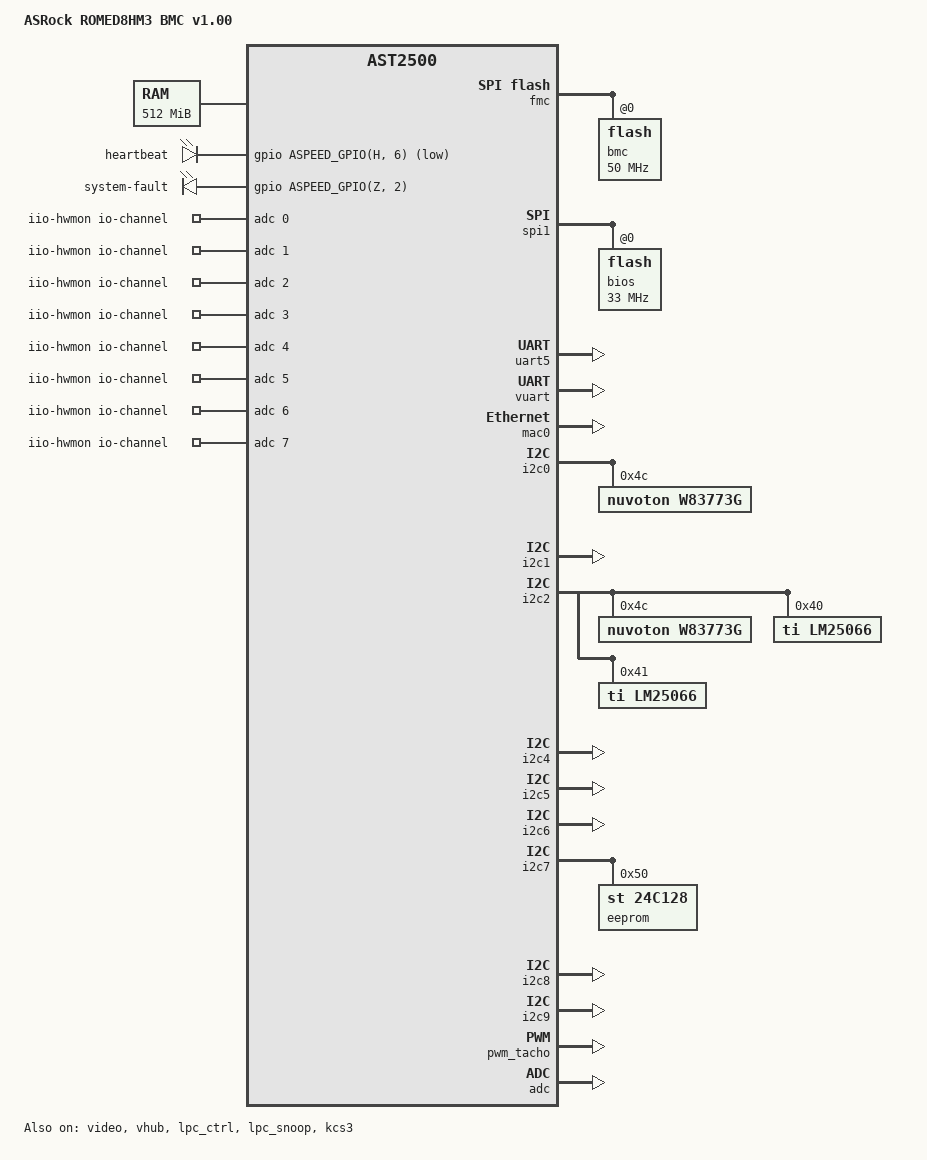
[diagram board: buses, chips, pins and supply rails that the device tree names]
// SPDX-License-Identifier: GPL-2.0+
/dts-v1/;

#include "aspeed-g5.dtsi"
#include <dt-bindings/gpio/aspeed-gpio.h>
#include <dt-bindings/interrupt-controller/irq.h>

/{
	model = "ASRock ROMED8HM3 BMC v1.00";
	compatible = "asrock,romed8hm3-bmc", "aspeed,ast2500";

	aliases {
		serial4 = &uart5;
	};

	chosen {
		stdout-path = &uart5;
		bootargs = "console=tty0 console=ttyS4,115200 earlycon";
	};

	memory@80000000 {
		reg = <0x80000000 0x20000000>;
	};

	leds {
		compatible = "gpio-leds";

		heartbeat {
			gpios = <&gpio ASPEED_GPIO(H, 6) GPIO_ACTIVE_LOW>;
			linux,default-trigger = "timer";
		};

		system-fault {
			gpios = <&gpio ASPEED_GPIO(Z, 2) GPIO_ACTIVE_HIGH>;
			panic-indicator;
		};
	};

	iio-hwmon {
		compatible = "iio-hwmon";
		io-channels = <&adc 0>, <&adc 1>, <&adc 2>, <&adc 3>,
			<&adc 4>, <&adc 5>, <&adc 6>, <&adc 7>,
			<&adc 8>, <&adc 9>, <&adc 10>, <&adc 11>,
			<&adc 12>, <&adc 13>, <&adc 14>, <&adc 15>;
	};
};

&fmc {
	status = "okay";
	flash@0 {
		status = "okay";
		m25p,fast-read;
		label = "bmc";
		spi-max-frequency = <50000000>; /* 50 MHz */
#include "openbmc-flash-layout-64.dtsi"
	};
};

&spi1 {
	status = "okay";
	pinctrl-names = "default";
	pinctrl-0 = <&pinctrl_spi1_default>;
	flash@0 {
		status = "okay";
		label = "bios";
		m25p,fast-read;
		spi-max-frequency = <33000000>; /* 33 MHz */
	};
};

&uart5 {
	status = "okay";
};

&vuart {
	status = "okay";
	aspeed,lpc-io-reg = <0x2f8>;
	aspeed,lpc-interrupts = <3 IRQ_TYPE_LEVEL_HIGH>;
};

&mac0 {
	status = "okay";

	pinctrl-names = "default";
	pinctrl-0 = <&pinctrl_rgmii1_default &pinctrl_mdio1_default>;

	nvmem-cells = <&eth0_macaddress>;
	nvmem-cell-names = "mac-address";
};

&i2c0 {
	status = "okay";

	/* inlet temp sensor */
	w83773g@4c {
		compatible = "nuvoton,w83773g";
		reg = <0x4c>;
	};
};

&i2c1 {
	status = "okay";
};

&i2c2 {
	status = "okay";

	/* IPB temp sensor */
	w83773g@4c {
		compatible = "nuvoton,w83773g";
		reg = <0x4c>;
	};

	/* IPB PMIC */
	lm25066@40 {
		compatible = "ti,lm25066";
		reg = <0x40>;
		shunt-resistor-micro-ohms = <1000>;
	};

	/* 12VSB PMIC */
	lm25066@41 {
		compatible = "ti,lm25066";
		reg = <0x41>;
		shunt-resistor-micro-ohms = <10000>;
	};
};

&i2c4 {
	status = "okay";
};

&i2c5 {
	status = "okay";
};

&i2c6 {
	status = "okay";
};

&i2c7 {
	status = "okay";

	/* Baseboard FRU eeprom */
	eeprom@50 {
		compatible = "st,24c128", "atmel,24c128";
		reg = <0x50>;
		pagesize = <16>;
		#address-cells = <1>;
		#size-cells = <1>;

		eth0_macaddress: macaddress@3f80 {
			reg = <0x3f80 6>;
		};
	};
};

&i2c8 {
	status = "okay";
};

&i2c9 {
	status = "okay";
};

&video {
	status = "okay";
};

&vhub {
	status = "okay";
};

&lpc_ctrl {
	status = "okay";
};

&lpc_snoop {
	status = "okay";
	snoop-ports = <0x80>;
};

&kcs3 {
	status = "okay";
	aspeed,lpc-io-reg = <0xca2>;
};

&pwm_tacho {
	status = "okay";
	pinctrl-names = "default";
	pinctrl-0 = <&pinctrl_pwm3_default
		&pinctrl_pwm4_default
		&pinctrl_pwm5_default
		&pinctrl_pwm6_default>;

	fan@3 {
		reg = <0x03>;
		aspeed,fan-tach-ch = /bits/ 8 <0x03 0x0b>;
	};

	fan@4 {
		reg = <0x04>;
		aspeed,fan-tach-ch = /bits/ 8 <0x04 0x0c>;
	};

	fan@5 {
		reg = <0x05>;
		aspeed,fan-tach-ch = /bits/ 8 <0x05 0x0d>;
	};

	fan@6 {
		reg = <0x06>;
		aspeed,fan-tach-ch = /bits/ 8 <0x06 0x0e>;
	};
};

&gpio {
	status = "okay";
	gpio-line-names =
		/*  A */ "LOCATORLED_STATUS_N", "BMC_MAC2_INTB", "NMI_BTN_N", "BMC_NMI",
			"", "", "", "",
		/*  B */ "POST_COMPLETE_N", "", "", "", "", "", "", "",
		/*  C */ "", "", "", "", "PCIE_HP_SEL_N", "PCIE_SATA_SEL_N", "LOCATORBTN", "",
		/*  D */ "BMC_PSIN", "BMC_PSOUT", "BMC_RESETCON", "RESETCON",
			"", "", "", "PSU_FAN_FAIL_N",
		/*  E */ "", "", "", "", "", "", "", "",
		/*  F */ "NIC_PWR_GOOD", "PRSNTB0", "PRSNTB1", "PRSNTB2",
			"PRSNTB3", "", "3VSB_PCIE1_PG", "12V_PCIE1_PG",
		/*  G */ "HWM_BAT_EN", "CHASSIS_ID0", "CHASSIS_ID1", "CHASSIS_ID2",
			"BMC_ALERT1_N_R", "BMC_ALERT2_N_R", "BMC_ALERT3_N", "BMC_ALERT4_N",
		/*  H */ "X24_C1_PRSNT", "X24_C2_PRSNT", "X24_C3_PRSNT", "FM_MEM_THERM_EVENT_BMC_R_N",
			"FACMODE", "BMC_RTCRST", "BMC_HB_LED_N", "BMC_CASEOPEN",
		/*  I */ "", "", "", "", "", "", "", "",
		/*  J */ "BMC_READY", "BMC_PCH_BIOS_CS_N", "", "P0_MA_DDR_QS_CS_N",
			"", "", "", "",
		/*  K */ "", "", "", "", "", "", "", "",
		/*  L */ "", "", "", "", "", "", "", "",
		/*  M */ "", "", "MEZZ_PWRBRK_N", "OCP_HP_RST_EN",
			"MAIN_PWR_EN_G", "BMC_MAIN_EN", "AUX_PWR_EN_G", "BMC_AUX_EN",
		/*  N */ "", "", "", "", "", "", "", "",
		/*  O */ "", "", "", "", "", "", "", "",
		/*  P */ "", "", "", "", "", "", "", "",
		/*  Q */ "", "", "", "",
			"BMC_SMB_PRESENT_1_N", "BMC_SMB_PRESENT_2_N",
			"BMC_SMB_PRESENT_3_N", "BMC_PCIE_WAKE_N",
		/*  R */ "", "", "THERMALTRIP_CLEAR_N", "", "", "", "", "",
		/*  S */ "", "", "", "", "", "", "", "",
		/*  T */ "", "", "", "", "", "", "", "",
		/*  U */ "", "", "", "", "", "", "", "",
		/*  V */ "", "", "", "", "", "", "", "",
		/*  W */ "", "", "", "", "", "", "", "",
		/*  X */ "", "", "", "", "", "", "", "",
		/*  Y */ "SLP_S3", "SLP_S4_S5", "NODE_ID_1", "NODE_ID_2", "", "", "", "",
		/*  Z */ "", "", "SYSTEM_FAULT_LED_N", "FAST_THROTTLE_N",
			"", "", "", "",
		/* AA */ "FM_CPU0_IBMC_THERMTRIP_N", "", "PROCHOT_L_G", "",
			"", "", "", "",
		/* AB */ "BMC_FORCE_SELFREFRESH", "PWRGD_OUT", "", "IRQ_BMC_PCH_SMI_LPC_N",
			"", "", "", "",
		/* AC */ "", "", "", "", "", "", "", "";
};

&adc {
	status = "okay";
	pinctrl-names = "default";
	pinctrl-0 = <&pinctrl_adc0_default
		&pinctrl_adc1_default
		&pinctrl_adc2_default
		&pinctrl_adc3_default
		&pinctrl_adc4_default
		&pinctrl_adc5_default
		&pinctrl_adc6_default
		&pinctrl_adc7_default
		&pinctrl_adc8_default
		&pinctrl_adc9_default
		&pinctrl_adc10_default
		&pinctrl_adc11_default
		&pinctrl_adc12_default
		&pinctrl_adc13_default
		&pinctrl_adc14_default
		&pinctrl_adc15_default>;
};
